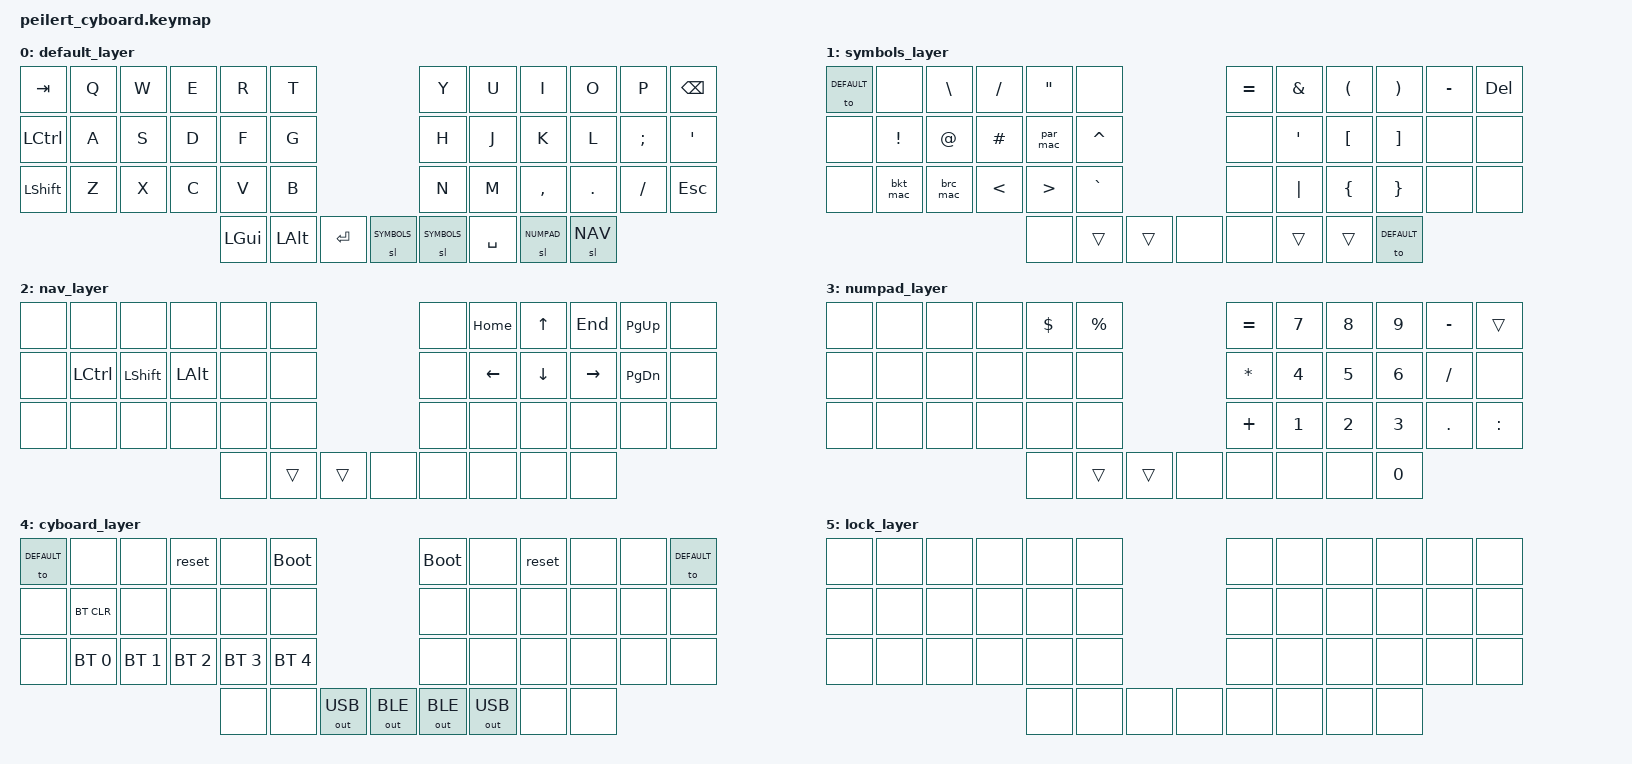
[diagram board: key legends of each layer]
/*
 * Copyright (c) 2020 The ZMK Contributors
 *
 * SPDX-License-Identifier: MIT
 */

#include <behaviors.dtsi>
#include <dt-bindings/zmk/keys.h>
#include <dt-bindings/zmk/bt.h>
#include <dt-bindings/zmk/outputs.h>

#define DEFAULT 0
#define SYMBOLS 1
#define NAV 2
#define NUMPAD 3
#define CYBOARD 4
#define LOCK 5

/ {

// key-positions
// 0  1  2  3  4  5  -  -  |  -  -  6  7  8  9  10 11
// 12 13 14 15 16 17 -  -  |  -  -  18 19 20 21 22 23
// 24 25 26 27 28 29 -  -  |  -  -  30 31 32 33 34 35
// -  -  -  -  36 37 38 39 |  40 41 42 43

        combos {
                compatible = "zmk,combos";
                combo_toggle_lock_left {
                          timeout-ms = <50>;
                          key-positions = <0 5 39>;
                          bindings = <&tog LOCK>;
                };
                combo_toggle_lock_right {
                          timeout-ms = <50>;
                          key-positions = <6 11 40>;
                          bindings = <&tog LOCK>;
                };
                combo_cyboard {
                          timeout-ms = <50>;
                          key-positions = <1 2 3 4 >;
                          bindings = <&tog CYBOARD>;
                };
        };

        behaviors {

                //symbols layer macros
                bkt_mac: bkt_mac {
			                    compatible = "zmk,behavior-macro";
			                    label = "BKT_MAC";
			                    #binding-cells = <0>;
			                    bindings = <&kp LBKT>, <&kp RBKT>, <&kp LEFT>;
		            };
		            brc_mac: brc_mac {
			                    compatible = "zmk,behavior-macro";
			                    label = "BRC_MAC";
			                    #binding-cells = <0>;
			                    bindings = <&kp LBRC>, <&kp RBRC>, <&kp LEFT>;
		            };
		            par_mac: par_mac {
			                    compatible = "zmk,behavior-macro";
			                    label = "PAR_MAC";
			                    #binding-cells = <0>;
			                    bindings = <&kp LPAR>, <&kp RPAR>, <&kp LEFT>;
		            };
        };

//make i3 commands easier
//add single bracket support
//haskell layer?
//access to DEL
//pipe

        keymap {
                compatible = "zmk,keymap";

                default_layer {
                        bindings = <
   &kp TAB   &kp Q &kp W &kp E &kp R    &kp T                                                 &kp Y      &kp U   &kp I     &kp O   &kp P    &kp BSPC
   &kp LCTRL &kp A &kp S &kp D &kp F    &kp G                                                 &kp H      &kp J   &kp K     &kp L   &kp SEMI &kp SQT
   &kp LSHFT &kp Z &kp X &kp C &kp V    &kp B                                                 &kp N      &kp M   &kp COMMA &kp DOT &kp FSLH &kp ESC
                               &kp LGUI &kp LALT &kp RET &sl SYMBOLS    &sl SYMBOLS &kp SPACE &sl NUMPAD &sl NAV
                        >;
                };

                symbols_layer {
                        bindings = <
   &to DEFAULT &none    &kp BSLH &kp FSLH &kp DQT  &none                                &kp EQUAL &kp AMPS &kp LPAR &kp RPAR &kp MINUS &kp DEL
   &none       &kp EXCL &kp AT   &kp HASH &par_mac &kp CARET                            &none     &kp SQT  &kp LBKT &kp RBKT &none     &none
   &none       &bkt_mac &brc_mac &kp LT   &kp GT   &kp GRAVE                            &none     &kp PIPE &kp LBRC &kp RBRC &none     &none
                                          &none    &trans  &trans &none    &none &trans &trans    &to DEFAULT
                        >;
                };

                nav_layer {
                        bindings = <
   &none &none     &none     &none    &none &none                              &none &kp HOME &kp UP   &kp END   &kp PG_UP &none
   &none &kp LCTRL &kp LSHFT &kp LALT &none &none                              &none &kp LEFT &kp DOWN &kp RIGHT &kp PG_DN &none
   &none &none     &none     &none    &none &none                              &none &none    &none    &none     &none     &none
                                      &none &trans &trans &none    &none &none &none &none
                        >;
                };

                numpad_layer {
                        bindings = <
   &none &none &none &none &kp DLLR &kp PRCNT                               &kp EQUAL &kp N7 &kp N8 &kp N9 &kp MINUS &trans
   &none &none &none &none &none    &none                                   &kp STAR  &kp N4 &kp N5 &kp N6 &kp FSLH  &none
   &none &none &none &none &none    &none                                   &kp PLUS  &kp N1 &kp N2 &kp N3 &kp DOT   &kp COLON
                           &none    &trans    &trans &none    &none &none &none &kp N0
                        >;
                };

                cyboard_layer {
                        bindings = <
   &to DEFAULT &none        &none        &reset       &none        &bootloader                                                         &bootloader &none &reset &none &none &to DEFAULT
   &none       &bt BT_CLR   &none        &none        &none        &none                                                               &none       &none &none  &none &none &none
   &none       &bt BT_SEL 0 &bt BT_SEL 1 &bt BT_SEL 2 &bt BT_SEL 3 &bt BT_SEL 4                                                        &none       &none &none  &none &none &none 
                                                      &none        &none        &out OUT_USB &out OUT_BLE    &out OUT_BLE &out OUT_USB &none       &none
                        >;
                };

                lock_layer {
                        bindings = <
   &none &none &none &none &none &none                            &none &none &none &none &none &none
   &none &none &none &none &none &none                            &none &none &none &none &none &none
   &none &none &none &none &none &none                            &none &none &none &none &none &none
                           &none &none &none &none    &none &none &none &none
                        >;
                };
        };
};
